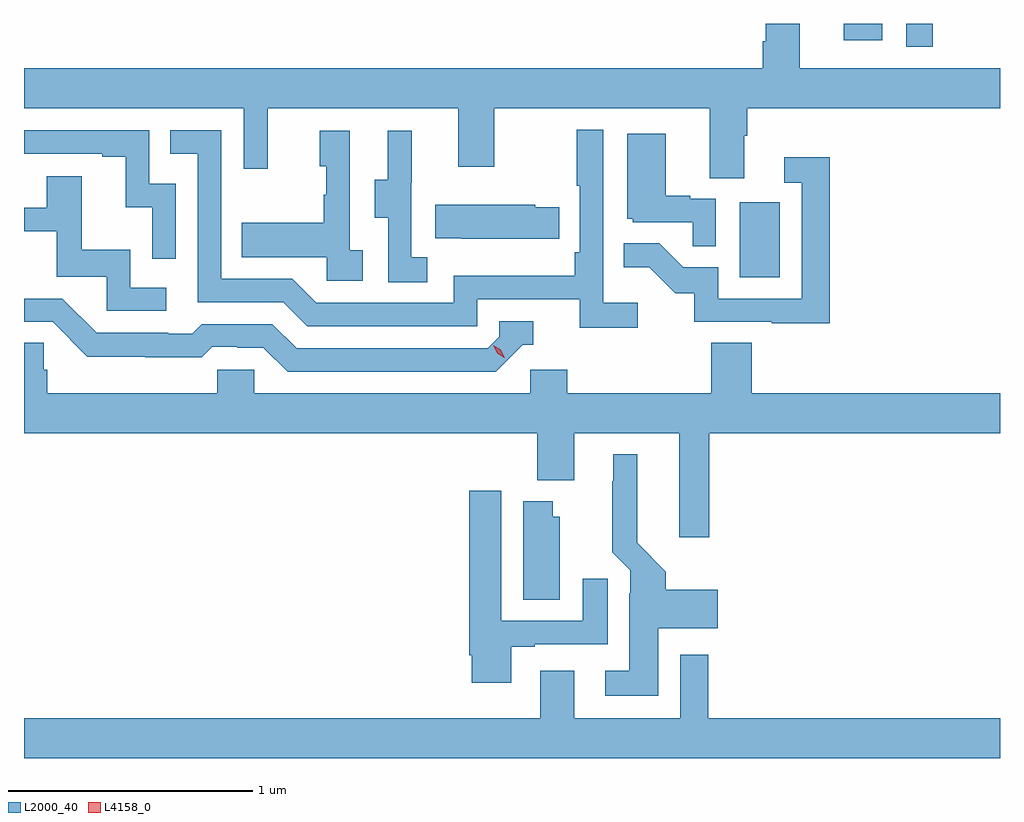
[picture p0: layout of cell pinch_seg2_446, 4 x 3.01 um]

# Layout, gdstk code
import gdstk
lib = gdstk.Library(unit=1e-6, precision=1e-09)
def R(c, l, rs):  # rectangles x0, y0, x1, y1
    for r in rs: c.add(gdstk.rectangle(r[:2], r[2:], *l))
def P(c, l, *ps):  # polygons
    for p in ps: c.add(gdstk.Polygon(p, *l))
L2000_40 = (2000, 40)
L4158_0 = (4158, 0)

pinch_seg2_446 = lib.new_cell('pinch_seg2_446')
R(pinch_seg2_446, L2000_40, [(952.352,608.316,952.516,608.623), (953.034,609.261,953.143,609.356), (952.778,609.288,952.936,609.356)])
P(pinch_seg2_446, L2000_40, [(949.418,609.008),(950.319,609.008),(950.319,608.76),(950.417,608.76),(950.417,609.008),(951.197,609.008),(951.197,608.769),(951.345,608.769),(951.345,609.008),(952.229,609.008),(952.229,608.722),(952.369,608.722),(952.369,608.896),(952.382,608.896),(952.382,609.008),(953.418,609.008),(953.418,609.172),(952.597,609.172),(952.597,609.356),(952.457,609.356),(952.457,609.284),(952.445,609.284),(952.445,609.172),(949.418,609.172)],
  [(951.934,608.212),(951.792,608.212),(951.792,608.92),(951.684,608.92),(951.684,608.692),(951.696,608.692),(951.696,608.419),(951.676,608.419),(951.676,608.323),(951.18,608.323),(951.18,608.211),(950.616,608.211),(950.517,608.31),(950.226,608.31),(950.226,608.919),(950.017,608.919),(950.017,608.823),(950.13,608.823),(950.13,608.214),(950.48,608.214),(950.579,608.115),(951.276,608.115),(951.276,608.226),(951.695,608.226),(951.695,608.11),(951.934,608.11)],
  [(950.04,608.7),(949.932,608.7),(949.932,608.919),(949.418,608.919),(949.418,608.823),(949.739,608.823),(949.739,608.811),(949.835,608.811),(949.835,608.603),(949.944,608.603),(949.944,608.391),(950.04,608.391)],
  [(951.07,608.399),(951.006,608.399),(951.006,608.703),(951.008,608.703),(951.008,608.917),(950.909,608.917),(950.909,608.715),(950.855,608.715),(950.855,608.56),(950.91,608.56),(950.91,608.296),(951.07,608.296)],
  [(950.806,608.426),(950.754,608.426),(950.754,608.917),(950.63,608.917),(950.63,608.772),(950.656,608.772),(950.656,608.654),(950.646,608.654),(950.646,608.539),(950.311,608.539),(950.311,608.399),(950.658,608.399),(950.658,608.301),(950.806,608.301)],
  [(952.254,608.637),(952.148,608.637),(952.148,608.65),(952.048,608.65),(952.048,608.905),(951.89,608.905),(951.89,608.556),(951.912,608.556),(951.912,608.541),(952.159,608.541),(952.159,608.443),(952.254,608.443)],
  [(952.721,608.809),(952.533,608.809),(952.533,608.703),(952.605,608.703),(952.605,608.229),(952.263,608.229),(952.263,608.358),(952.119,608.358),(952.021,608.456),(951.877,608.456),(951.877,608.357),(951.981,608.357),(952.088,608.25),(952.165,608.25),(952.165,608.133),(952.483,608.133),(952.483,608.128),(952.721,608.128)],
  [(950.002,608.274),(949.854,608.274),(949.854,608.428),(949.655,608.428),(949.655,608.731),(949.511,608.731),(949.511,608.601),(949.418,608.601),(949.418,608.505),(949.553,608.505),(949.553,608.319),(949.758,608.319),(949.758,608.178),(950.002,608.178)],
  [(951.611,608.604),(951.513,608.604),(951.513,608.614),(951.103,608.614),(951.103,608.477),(951.211,608.477),(951.211,608.474),(951.611,608.474)],
  [(951.462,608.04),(951.505,608.04),(951.505,608.136),(951.366,608.136),(951.366,608.073),(951.318,608.025),(950.535,608.025),(950.436,608.124),(950.147,608.124),(950.108,608.085),(950.009,608.085),(950.009,608.088),(949.716,608.088),(949.575,608.229),(949.418,608.229),(949.418,608.133),(949.536,608.133),(949.678,607.991),(949.914,607.991),(949.914,607.989),(950.147,607.989),(950.189,608.031),(950.292,608.031),(950.292,608.028),(950.399,608.028),(950.498,607.929),(951.351,607.929)],
  [(952.226,607.676),(953.418,607.676),(953.418,607.84),(952.4,607.84),(952.4,608.048),(952.235,608.048),(952.235,607.84),(951.644,607.84),(951.644,607.938),(951.492,607.938),(951.492,607.84),(950.361,607.84),(950.361,607.938),(950.211,607.938),(950.211,607.84),(949.514,607.84),(949.514,607.938),(949.499,607.938),(949.499,608.048),(949.418,608.048),(949.418,607.676),(951.521,607.676),(951.521,607.484),(951.673,607.484),(951.673,607.676),(952.103,607.676),(952.103,607.251),(952.226,607.251)],
  [(952.018,606.878),(952.261,606.878),(952.261,607.036),(952.049,607.036),(952.049,607.11),(951.931,607.228),(951.931,607.591),(951.833,607.591),(951.833,607.481),(951.829,607.481),(951.829,607.19),(951.903,607.116),(951.903,607.022),(951.899,607.022),(951.899,606.703),(951.801,606.703),(951.801,606.602),(952.018,606.602)],
  [(951.415,606.801),(951.511,606.801),(951.511,606.813),(951.811,606.813),(951.811,607.081),(951.707,607.081),(951.707,606.909),(951.373,606.909),(951.373,607.441),(951.242,607.441),(951.242,606.766),(951.254,606.766),(951.254,606.654),(951.415,606.654)],
  [(951.613,607.335),(951.586,607.335),(951.586,607.399),(951.464,607.399),(951.464,606.994),(951.613,606.994)],
  [(953.418,606.508),(952.223,606.508),(952.223,606.769),(952.107,606.769),(952.107,606.508),(951.673,606.508),(951.673,606.703),(951.533,606.703),(951.533,606.508),(949.418,606.508),(949.418,606.344),(953.418,606.344)])
P(pinch_seg2_446, L4158_0, [(951.387,607.986),(951.357,608.005),(951.341,608.038),(951.341,608.038),(951.341,608.038),(951.372,608.019),(951.388,607.986),(951.388,607.986)])

lib.write_gds('pinch_seg2_446.gds')
